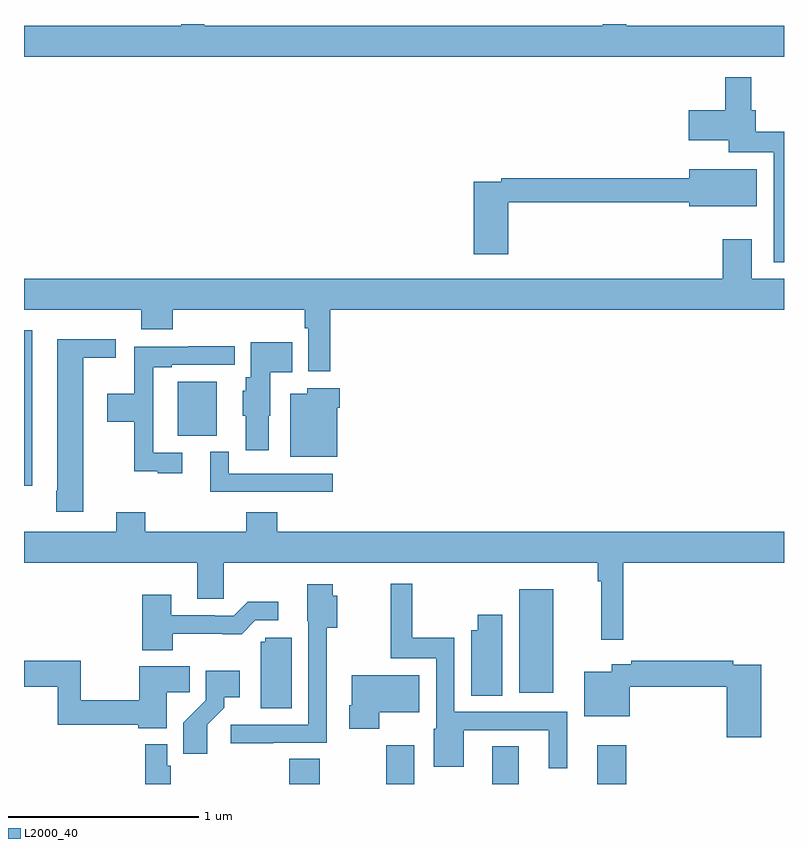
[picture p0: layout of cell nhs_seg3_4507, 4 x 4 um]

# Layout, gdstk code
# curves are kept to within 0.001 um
import gdstk
lib = gdstk.Library(unit=1e-6, precision=1e-09)
def R(c, l, rs):  # rectangles x0, y0, x1, y1
    for r in rs: c.add(gdstk.rectangle(r[:2], r[2:], *l))
def P(c, l, *ps):  # polygons
    for p in ps: c.add(gdstk.Polygon(p, *l))
L2000_40 = (2000, 40)

nhs_seg3_4507 = lib.new_cell('nhs_seg3_4507')
R(nhs_seg3_4507, L2000_40, [(352.397,718.4,352.557,718.532), (352.906,718.4,353.053,718.603), (353.465,718.4,353.605,718.598), (354.017,718.4,354.17,718.603), (353.606,718.88,353.785,719.425), (351,719.97,351.043,720.787), (351.809,720.233,352.015,720.517)])
P(nhs_seg3_4507, L2000_40, [(355,722.392),(354.169,722.392),(354.169,722.4),(354.047,722.4),(354.047,722.392),(351.949,722.392),(351.949,722.4),(351.827,722.4),(351.827,722.392),(351,722.392),(351,722.228),(355,722.228)],
  [(355,721.834),(354.85,721.834),(354.85,721.945),(354.827,721.945),(354.827,722.119),(354.691,722.119),(354.691,721.945),(354.498,721.945),(354.498,721.787),(354.71,721.787),(354.71,721.725),(354.945,721.725),(354.945,721.146),(355,721.146)],
  [(353.549,721.461),(354.5,721.461),(354.5,721.442),(354.856,721.442),(354.856,721.636),(354.5,721.636),(354.5,721.589),(353.512,721.589),(353.512,721.569),(353.366,721.569),(353.366,721.188),(353.549,721.188)],
  [(352.613,720.896),(355,720.896),(355,721.06),(354.829,721.06),(354.829,721.267),(354.677,721.267),(354.677,721.06),(351,721.06),(351,720.896),(351.617,720.896),(351.617,720.794),(351.782,720.794),(351.782,720.896),(352.477,720.896),(352.477,720.8),(352.497,720.8),(352.497,720.573),(352.613,720.573)],
  [(351.313,720.644),(351.484,720.644),(351.484,720.742),(351.176,720.742),(351.176,719.944),(351.169,719.944),(351.169,719.832),(351.313,719.832)],
  [(352.288,720.339),(352.297,720.339),(352.297,720.566),(352.412,720.566),(352.412,720.724),(352.193,720.724),(352.193,720.54),(352.166,720.54),(352.166,720.471),(352.151,720.471),(352.151,720.339),(352.166,720.339),(352.166,720.156),(352.288,720.156)],
  [(351.832,720.144),(351.681,720.144),(351.681,720.594),(351.778,720.594),(351.778,720.606),(352.108,720.606),(352.108,720.704),(351.865,720.704),(351.865,720.702),(351.58,720.702),(351.58,720.454),(351.438,720.454),(351.438,720.307),(351.58,720.307),(351.58,720.047),(351.704,720.047),(351.704,720.036),(351.832,720.036)],
  [(352.648,720.38),(352.661,720.38),(352.661,720.484),(352.49,720.484),(352.49,720.454),(352.4,720.454),(352.4,720.122),(352.648,720.122)],
  [(352.624,720.033),(352.077,720.033),(352.077,720.148),(351.98,720.148),(351.98,719.937),(352.624,719.937)],
  [(354.155,719.564),(355,719.564),(355,719.728),(352.334,719.728),(352.334,719.83),(352.169,719.83),(352.169,719.728),(351.638,719.728),(351.638,719.83),(351.485,719.83),(351.485,719.728),(351,719.728),(351,719.564),(351.911,719.564),(351.911,719.374),(352.05,719.374),(352.05,719.564),(354.019,719.564),(354.019,719.468),(354.037,719.468),(354.037,719.16),(354.155,719.16)],
  [(353.86,718.779),(353.265,718.779),(353.265,719.17),(353.044,719.17),(353.044,719.455),(352.93,719.455),(352.93,719.061),(353.169,719.061),(353.169,718.692),(353.156,718.692),(353.156,718.49),(353.314,718.49),(353.314,718.683),(353.762,718.683),(353.762,718.482),(353.86,718.482)],
  [(352.313,718.617),(352.593,718.617),(352.593,718.868),(352.594,718.868),(352.594,719.222),(352.648,719.222),(352.648,719.392),(352.626,719.392),(352.626,719.452),(352.49,719.452),(352.49,719.256),(352.497,719.256),(352.497,718.713),(352.089,718.713),(352.089,718.615),(352.313,718.615)],
  [(351.783,719.19),(352.145,719.189),(352.218,719.262),(352.339,719.262),(352.339,719.359),(352.177,719.359),(352.104,719.286),(352.004,719.286),(352.004,719.289),(351.775,719.289),(351.775,719.395),(351.623,719.395),(351.623,719.105),(351.783,719.105)],
  [(353.518,719.29),(353.389,719.29),(353.389,719.209),(353.354,719.209),(353.354,718.864),(353.518,718.864)],
  [(352.408,719.169),(352.269,719.169),(352.269,719.148),(352.247,719.148),(352.247,718.8),(352.408,718.8)],
  [(354.881,719.028),(354.734,719.028),(354.734,719.048),(354.196,719.048),(354.196,719.029),(354.093,719.029),(354.093,718.99),(353.948,718.99),(353.948,718.757),(354.189,718.757),(354.189,718.912),(354.698,718.912),(354.698,718.647),(354.881,718.647)],
  [(351.751,718.882),(351.872,718.882),(351.872,719.02),(351.607,719.02),(351.607,718.841),(351.298,718.841),(351.298,719.048),(351,719.048),(351,718.912),(351.177,718.912),(351.177,718.713),(351.602,718.713),(351.602,718.694),(351.751,718.694)],
  [(351.964,718.711),(352.054,718.801),(352.054,718.856),(352.135,718.856),(352.135,718.996),(351.957,718.996),(351.957,718.841),(351.838,718.722),(351.838,718.56),(351.964,718.56)],
  [(352.87,718.778),(353.08,718.778),(353.08,718.972),(352.724,718.972),(352.724,718.815),(352.712,718.815),(352.712,718.69),(352.87,718.69)],
  [(351.773,718.497),(351.753,718.497),(351.753,718.609),(351.637,718.609),(351.637,718.4),(351.773,718.4)])

lib.write_gds('nhs_seg3_4507.gds')
